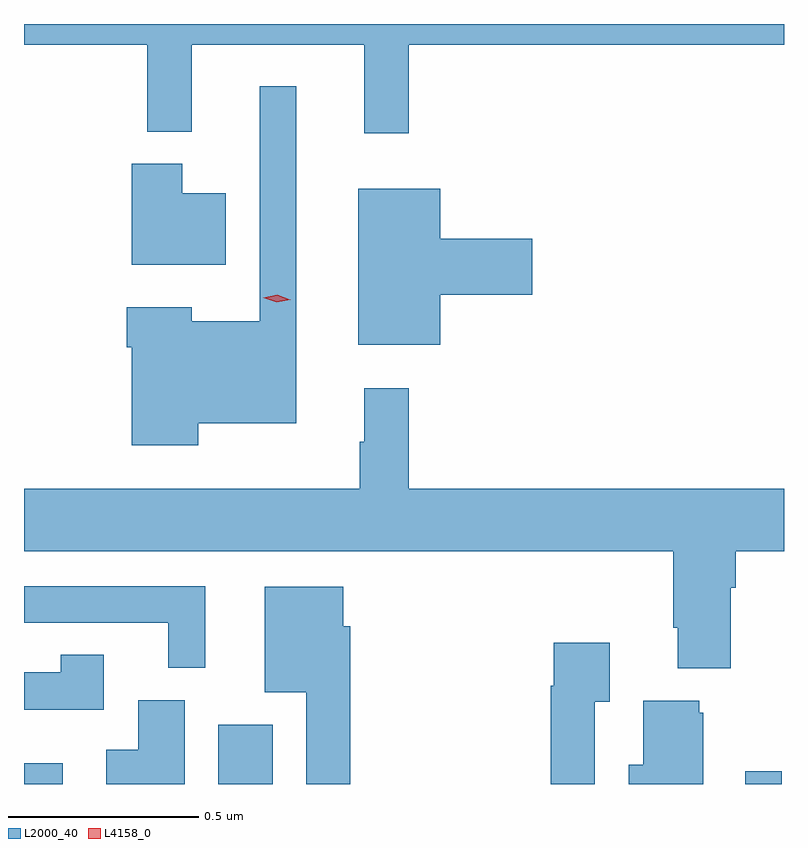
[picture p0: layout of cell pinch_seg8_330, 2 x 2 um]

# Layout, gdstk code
import gdstk
lib = gdstk.Library(unit=1e-6, precision=1e-09)
def R(c, l, rs):  # rectangles x0, y0, x1, y1
    for r in rs: c.add(gdstk.rectangle(r[:2], r[2:], *l))
def P(c, l, *ps):  # polygons
    for p in ps: c.add(gdstk.Polygon(p, *l))
L2000_40 = (2000, 40)
L4158_0 = (4158, 0)

pinch_seg8_330 = lib.new_cell('pinch_seg8_330')
R(pinch_seg8_330, L2000_40, [(616.609,1139.863,616.711,1139.917), (617.12,1139.863,617.263,1140.019), (618.507,1139.863,618.603,1139.896)])
P(pinch_seg8_330, L2000_40, [(617.621,1141.808),(618.609,1141.808),(618.609,1141.863),(616.609,1141.863),(616.609,1141.808),(616.933,1141.808),(616.933,1141.58),(617.051,1141.58),(617.051,1141.808),(617.504,1141.808),(617.504,1141.575),(617.621,1141.575)],
  [(617.067,1140.812),(617.326,1140.812),(617.326,1141.699),(617.229,1141.699),(617.229,1141.081),(617.05,1141.081),(617.05,1141.117),(616.88,1141.117),(616.88,1141.013),(616.892,1141.013),(616.892,1140.755),(617.067,1140.755)],
  [(617.14,1141.417),(617.026,1141.417),(617.026,1141.495),(616.892,1141.495),(616.892,1141.229),(617.14,1141.229)],
  [(617.704,1141.151),(617.947,1141.151),(617.947,1141.298),(617.704,1141.298),(617.704,1141.429),(617.489,1141.429),(617.489,1141.019),(617.704,1141.019)],
  [(618.469,1140.38),(618.482,1140.38),(618.482,1140.476),(618.609,1140.476),(618.609,1140.64),(617.621,1140.64),(617.621,1140.904),(617.504,1140.904),(617.504,1140.764),(617.493,1140.764),(617.493,1140.64),(616.609,1140.64),(616.609,1140.476),(618.317,1140.476),(618.317,1140.274),(618.329,1140.274),(618.329,1140.167),(618.469,1140.167)],
  [(617.086,1140.384),(616.609,1140.384),(616.609,1140.288),(616.988,1140.288),(616.988,1140.169),(617.086,1140.169)],
  [(617.468,1140.278),(617.449,1140.278),(617.449,1140.382),(617.243,1140.382),(617.243,1140.104),(617.352,1140.104),(617.352,1139.863),(617.468,1139.863)],
  [(618.111,1140.079),(618.151,1140.079),(618.151,1140.235),(618.003,1140.235),(618.003,1140.122),(617.995,1140.122),(617.995,1139.863),(618.111,1139.863)],
  [(616.819,1140.203),(616.706,1140.203),(616.706,1140.157),(616.609,1140.157),(616.609,1140.059),(616.819,1140.059)],
  [(617.032,1140.084),(616.91,1140.084),(616.91,1139.953),(616.826,1139.953),(616.826,1139.863),(617.032,1139.863)],
  [(618.397,1140.051),(618.386,1140.051),(618.386,1140.082),(618.239,1140.082),(618.239,1139.914),(618.2,1139.914),(618.2,1139.863),(618.397,1139.863)])
P(pinch_seg8_330, L4158_0, [(617.274,1141.131),(617.239,1141.143),(617.239,1141.143),(617.239,1141.143),(617.276,1141.15),(617.31,1141.138),(617.311,1141.138),(617.31,1141.138)])

lib.write_gds('pinch_seg8_330.gds')
